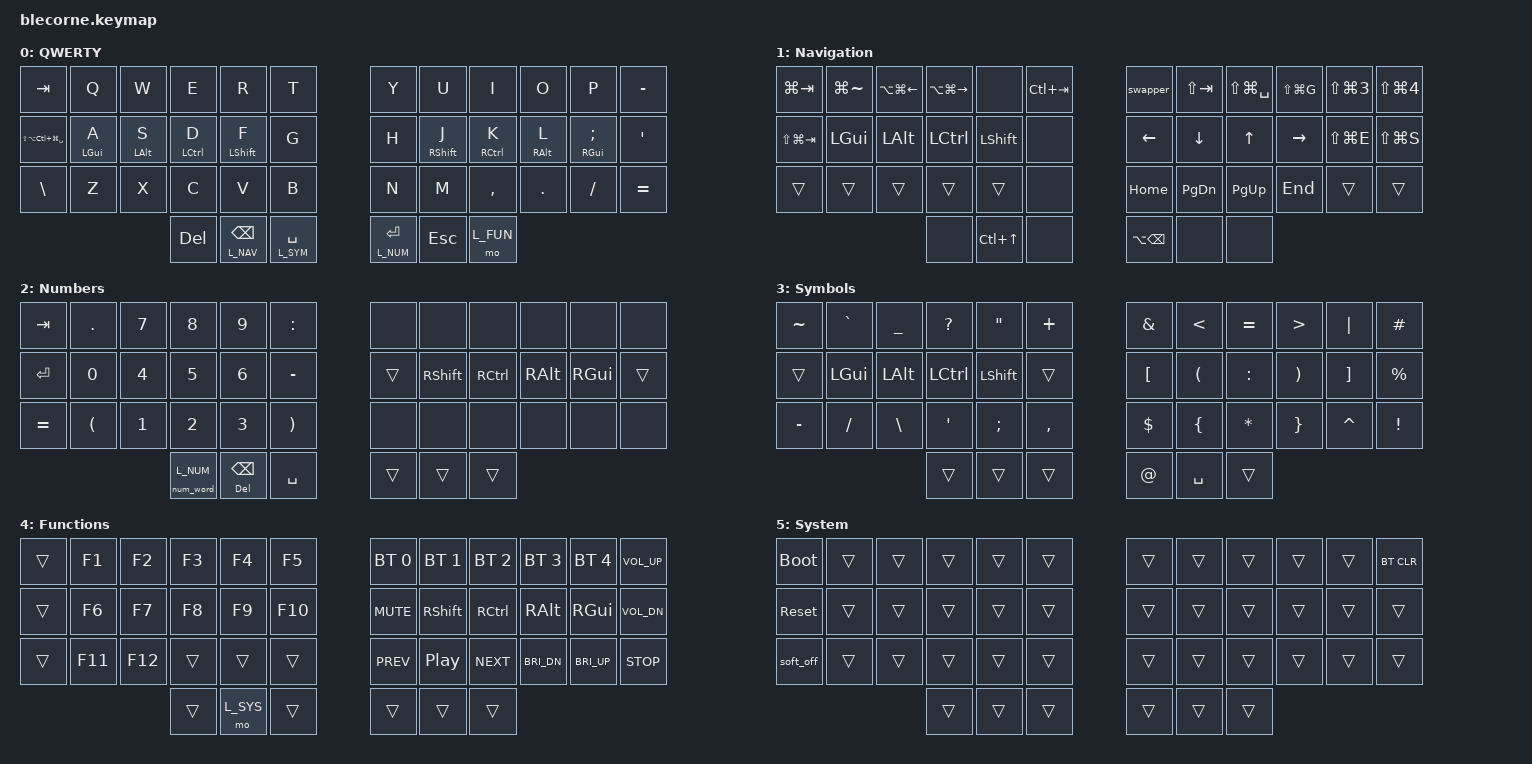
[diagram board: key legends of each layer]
#include <behaviors.dtsi>
#include <dt-bindings/zmk/keys.h>
#include <dt-bindings/zmk/bt.h>
#include <behaviors/num_word.dtsi>

// num_word: la capa NUM sigue activa mientras se pulsen estas teclas
// (los digitos continuan siempre via ignore-numbers del modulo).
&num_word {
    continue-list = <BSPC DEL DOT COMMA PLUS MINUS STAR FSLH EQUAL COLON LPAR RPAR>;
};

// Hyper + Space en una sola pulsacion
#define LHSPC LS(LA(LC(LG(SPACE))))

// Screenshots macOS
#define MAC_SS_FULL LS(LG(N3))
#define MAC_SS_CROP LS(LG(N4))

// Neru / Leader Key global modes: Cmd + Shift + tecla
#define NERU_HINT LS(LG(SPACE))
#define NERU_GRID LS(LG(G))
#define NERU_RECUR LS(LG(E))
#define NERU_SCROLL LS(LG(S))


// Ceryon: navegacion de tabs/workspaces que si uso.
#define CER_TAB_NEXT LC(TAB)
#define CER_WS_PREV LA(LG(LEFT))
#define CER_WS_NEXT LA(LG(RIGHT))

// Capas
#define L_QWT 0
#define L_NAV 1
#define L_NUM 2
#define L_SYM 3
#define L_FUN 4
#define L_SYS 5

/ {
    chosen {
        zmk,physical-layout = &foostan_corne_6col_layout;
    };

    behaviors {
        hml: homerow_mod_left {
            compatible = "zmk,behavior-hold-tap";
            #binding-cells = <2>;
            tapping-term-ms = <200>;
            quick-tap-ms = <200>;
            require-prior-idle-ms = <125>;
            flavor = "balanced";
            hold-trigger-key-positions = <6 7 8 9 10 11 18 19 20 21 22 23 30 31 32 33 34 35 36 37 38 39 40 41>;
            hold-trigger-on-release;
            bindings = <&kp>, <&kp>;
        };

        hmr: homerow_mod_right {
            compatible = "zmk,behavior-hold-tap";
            #binding-cells = <2>;
            tapping-term-ms = <200>;
            quick-tap-ms = <200>;
            require-prior-idle-ms = <125>;
            flavor = "balanced";
            hold-trigger-key-positions = <0 1 2 3 4 5 12 13 14 15 16 17 24 25 26 27 28 29 36 37 38 39 40 41>;
            hold-trigger-on-release;
            bindings = <&kp>, <&kp>;
        };

        // Tap: Backspace. Hold + otra tecla: capa NAV.
        // Mantener sola NO repite Backspace: el hold ES la capa (ZMK no tiene
        // "hold = repetir tap"; cf. zmkfirmware/zmk#2592). Para borrar en rafaga:
        // tap y re-pulsar dentro de quick-tap-ms, o NAV + pulgar derecho interior
        // (&kp LA(BSPC) en nav_layer: borra por palabras y repite nativo).
        bspcnav: backspace_layer_nav {
            compatible = "zmk,behavior-hold-tap";
            #binding-cells = <2>;
            flavor = "balanced";
            tapping-term-ms = <200>;
            quick-tap-ms = <300>;
            bindings = <&mo>, <&kp>;
            hold-trigger-key-positions = <0 1 2 3 4 5 6 7 8 9 10 11 12 13 14 15 16 17 18 19 20 21 22 23 24 25 26 27 28 29 30 31 32 33 34 35 36 38 39 40 41>;
            hold-trigger-on-release;
        };

        // Tap: Backspace. Hold: Delete. (Usado en num_layer, pulgar.)
        bsdel: backspace_delete {
            compatible = "zmk,behavior-hold-tap";
            #binding-cells = <2>;
            tapping-term-ms = <200>;
            quick-tap-ms = <175>;
            flavor = "tap-preferred";
            bindings = <&kp>, <&kp>;
        };

        // Swapper (tri-state): Cmd+Tab que NO suelta Cmd entre toques, asi cicla
        // por TODAS las apps. Toca para empezar/avanzar; la tecla de al lado (pos 7)
        // = Shift+Tab para retroceder sin confirmar. Al soltar el pulgar de NAV
        // se vuelve a la capa base y se confirma la app (Cmd se suelta).
        // Windows/Linux: cambia LGUI -> LALT en las dos posiciones de "bindings".
        swapper: swapper {
            compatible = "zmk,behavior-tri-state";
            #binding-cells = <0>;
            bindings = <&kt LGUI>, <&kp TAB>, <&kt LGUI>;
            ignored-key-positions = <7>;
            ignored-layers = <L_NAV>;
        };
    };

    combos {
        compatible = "zmk,combos";

        // --- Combos Activos ---
        combo_tab { timeout-ms = <50>; key-positions = <3 4>; bindings = <&kp TAB>; layers = <L_QWT>; };
        combo_esc { timeout-ms = <50>; key-positions = <7 8>; bindings = <&kp ESC>; layers = <L_QWT>; };
        combo_caps { timeout-ms = <50>; key-positions = <24 35>; bindings = <&caps_word>; };

        // --- Combos Sugeridos (Descomenta para usar) ---
        
        /* // J + K = ENTER (Muy popular para no mover el pulgar)
        combo_enter {
            timeout-ms = <50>;
            key-positions = <19 20>;
            bindings = <&kp RET>;
        };

        // K + L = BACKSPACE
        combo_bspc {
            timeout-ms = <50>;
            key-positions = <20 21>;
            bindings = <&kp BSPC>;
        };

        // D + F = DELETE
        combo_del {
            timeout-ms = <50>;
            key-positions = <15 16>;
            bindings = <&kp DEL>;
        };

        // X + C = COPY (Atajo rápido en fila inferior)
        combo_copy {
            timeout-ms = <50>;
            key-positions = <26 27>;
            bindings = <&kp LG(C)>;
        };

        // C + V = PASTE
        combo_paste {
            timeout-ms = <50>;
            key-positions = <27 28>;
            bindings = <&kp LG(V)>;
        };
        */
    };

    keymap {
        compatible = "zmk,keymap";

        default_layer {
            display-name = "QWERTY";
            bindings = <
// ┌─────────┬─────────┬─────────┬─────────┬─────────┬─────────┐      ┌─────────┬─────────┬─────────┬─────────┬─────────┬─────────┐
    &kp TAB   &kp Q     &kp W     &kp E     &kp R     &kp T              &kp Y     &kp U     &kp I     &kp O     &kp P     &kp MINUS
// ├─────────┼─────────┼─────────┼─────────┼─────────┼─────────┤      ├─────────┼─────────┼─────────┼─────────┼─────────┼─────────┤
    &kp LHSPC &hml LGUI A &hml LALT S &hml LCTRL D &hml LSHFT F &kp G       &kp H     &hmr RSHFT J &hmr RCTRL K &hmr RALT L &hmr RGUI SEMI &kp SQT
// ├─────────┼─────────┼─────────┼─────────┼─────────┼─────────┤      ├─────────┼─────────┼─────────┼─────────┼─────────┼─────────┤
    &kp BSLH  &kp Z     &kp X     &kp C     &kp V     &kp B              &kp N     &kp M     &kp COMMA &kp DOT   &kp FSLH  &kp EQUAL
// └─────────┴─────────┴─────────┼─────────┼─────────┼─────────┤      ├─────────┼─────────┼─────────┼─────────┴─────────┴─────────┘
                         &kp DEL   &bspcnav L_NAV BSPC &lt L_SYM SPACE     &lt L_NUM RET &kp ESC       &mo L_FUN
            >;
        };

       nav_layer {
            display-name = "Navigation";
            // NAV global: navegacion segura + acciones frecuentes.
            // AeroSpace usa NUM + Option/Shift + numeros; Herdr usa FUN F8-F11.
            bindings = <
// ┌─────────┬─────────┬─────────┬─────────┬─────────┬─────────┐      ┌─────────┬─────────┬─────────┬─────────┬─────────┬─────────┐
    &kp LG(TAB)     &kp LG(TILDE)    &kp CER_WS_PREV &kp CER_WS_NEXT &none       &kp CER_TAB_NEXT     &swapper  &kp LS(TAB) &kp NERU_HINT &kp NERU_GRID &kp MAC_SS_FULL &kp MAC_SS_CROP
// ├─────────┼─────────┼─────────┼─────────┼─────────┼─────────┤      ├─────────┼─────────┼─────────┼─────────┼─────────┼─────────┤
    &kp LS(LG(TAB)) &kp LGUI         &kp LALT        &kp LCTRL       &kp LSHFT    &none               &kp LEFT  &kp DOWN    &kp UP        &kp RIGHT     &kp NERU_RECUR &kp NERU_SCROLL
// ├─────────┼─────────┼─────────┼─────────┼─────────┼─────────┤      ├─────────┼─────────┼─────────┼─────────┼─────────┼─────────┤
    &trans          &trans           &trans          &trans         &trans       &none               &kp HOME  &kp PG_DN   &kp PG_UP     &kp END       &trans         &trans
// └─────────┴─────────┴─────────┼─────────┼─────────┼─────────┤      ├─────────┼─────────┼─────────┼─────────┴─────────┴─────────┘
                                  &none    &kp LC(UP)   &none        &kp LA(BSPC) &none     &none
            >;
        };




        num_layer {
            display-name = "Numbers";
            // Bloque numpad 3x3 en mano izquierda: digitos bajo indice/corazon/anular,
            // frecuentes en home row, sin usar meñique. 0 en columna A.
            // Pulgar exterior izq. = num_word: NUM se queda pegajosa mientras
            // escribas digitos o . , + - * / = : ( ) y se apaga con cualquier otra.
            bindings = <
// ┌─────────┬─────────┬─────────┬─────────┬─────────┬─────────┐      ┌─────────┬─────────┬─────────┬─────────┬─────────┬─────────┐
    &kp TAB   &kp DOT   &kp N7    &kp N8    &kp N9    &kp COLON          &none    &none    &none    &none    &none    &none
// ├─────────┼─────────┼─────────┼─────────┼─────────┼─────────┤      ├─────────┼─────────┼─────────┼─────────┼─────────┼─────────┤
    &kp RET   &kp N0    &kp N4    &kp N5    &kp N6    &kp MINUS          &trans    &kp RSHFT  &kp RCTRL    &kp RALT     &kp RGUI     &trans
// ├─────────┼─────────┼─────────┼─────────┼─────────┼─────────┤      ├─────────┼─────────┼─────────┼─────────┼─────────┼─────────┤
    &kp EQUAL &kp LPAR  &kp N1    &kp N2    &kp N3    &kp RPAR           &none    &none    &none    &none    &none    &none
// └─────────┴─────────┴─────────┼─────────┼─────────┼─────────┤      ├─────────┼─────────┼─────────┼─────────┴─────────┴─────────┘
                                  &num_word L_NUM &bsdel DEL BSPC &kp SPACE        &trans    &trans    &trans
            >;
        };

        sym_layer {
            display-name = "Symbols";
            bindings = <
// ┌─────────┬─────────┬─────────┬─────────┬─────────┬─────────┐      ┌─────────┬─────────┬─────────┬─────────┬─────────┬─────────┐
    &kp TILDE &kp GRAVE &kp UNDER &kp QMARK &kp DQT   &kp PLUS           &kp AMPS  &kp LT    &kp EQUAL &kp GT    &kp PIPE  &kp HASH
// ├─────────┼─────────┼─────────┼─────────┼─────────┼─────────┤      ├─────────┼─────────┼─────────┼─────────┼─────────┼─────────┤
    &trans    &kp LGUI  &kp LALT  &kp LCTRL &kp LSHFT &trans             &kp LBKT  &kp LPAR  &kp COLON &kp RPAR  &kp RBKT  &kp PRCNT
// ├─────────┼─────────┼─────────┼─────────┼─────────┼─────────┤      ├─────────┼─────────┼─────────┼─────────┼─────────┼─────────┤
    &kp MINUS &kp FSLH  &kp BSLH  &kp SQT   &kp SEMI  &kp COMMA          &kp DLLR  &kp LBRC  &kp STAR  &kp RBRC  &kp CARET &kp EXCL
// └─────────┴─────────┴─────────┼─────────┼─────────┼─────────┤      ├─────────┼─────────┼─────────┼─────────┴─────────┴─────────┘
                                  &trans    &trans    &trans             &kp AT    &kp SPACE &trans
            >;
        };

        fun_layer {
            display-name = "Functions";
            bindings = <
    &trans    &kp F1    &kp F2    &kp F3    &kp F4    &kp F5             &bt BT_SEL 0 &bt BT_SEL 1 &bt BT_SEL 2 &bt BT_SEL 3 &bt BT_SEL 4 &kp C_VOL_UP
    &trans    &kp F6    &kp F7    &kp F8    &kp F9    &kp F10            &kp C_MUTE   &kp RSHFT    &kp RCTRL    &kp RALT     &kp RGUI     &kp C_VOL_DN
    &trans    &kp F11   &kp F12   &trans    &trans    &trans             &kp C_PREV   &kp C_PP     &kp C_NEXT   &kp C_BRI_DN &kp C_BRI_UP &kp C_STOP
                                  &trans    &mo L_SYS &trans             &trans    &trans    &trans
            >;
        };

        sys_layer {
            display-name = "System";
            bindings = <
// ┌─────────┬─────────┬─────────┬─────────┬─────────┬─────────┐      ┌─────────┬─────────┬─────────┬─────────┬─────────┬─────────┐
    &bootloader &trans  &trans    &trans    &trans    &trans             &trans    &trans    &trans    &trans    &trans    &bt BT_CLR
// ├─────────┼─────────┼─────────┼─────────┼─────────┼─────────┤      ├─────────┼─────────┼─────────┼─────────┼─────────┼─────────┤
    &sys_reset  &trans  &trans    &trans    &trans    &trans             &trans    &trans    &trans    &trans    &trans    &trans
// ├─────────┼─────────┼─────────┼─────────┼─────────┼─────────┤      ├─────────┼─────────┼─────────┼─────────┼─────────┼─────────┤
    &soft_off   &trans  &trans    &trans    &trans    &trans             &trans    &trans    &trans    &trans    &trans    &trans
// └─────────┴─────────┴─────────┼─────────┼─────────┼─────────┤      ├─────────┼─────────┼─────────┼─────────┴─────────┴─────────┘
                                  &trans    &trans    &trans             &trans    &trans    &trans
            >;
        };
    };
};

&kscan0 {
    wakeup-source;
};
